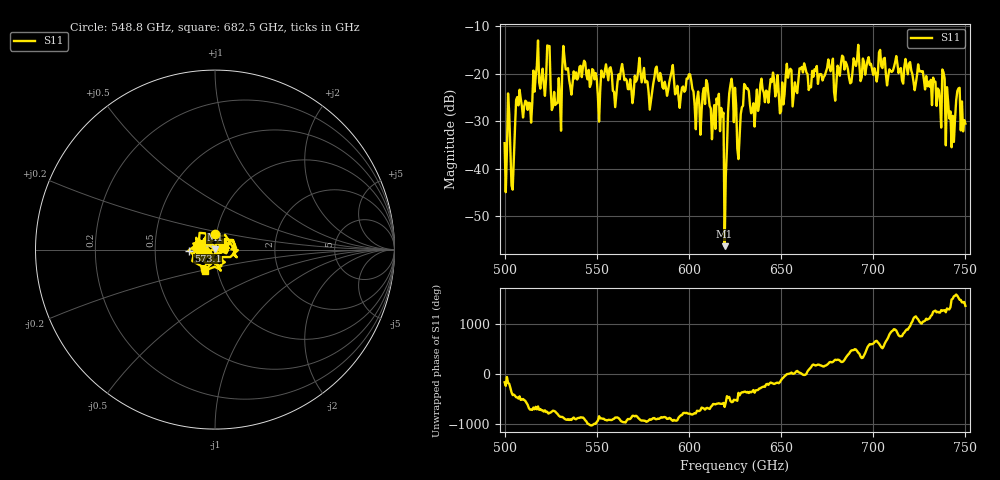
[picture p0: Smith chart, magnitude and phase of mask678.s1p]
!Created with skrf (http://scikit-rf.org).
# GHz S MA R 50.0
!freq magS11 angS11
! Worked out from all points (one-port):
!   401 points, 500 GHz to 750 GHz, reference 50 ohm
!   lowest |S11| = -56.3 dB at 619.4 GHz (marker M1), VSWR 1.00, Z = 50.1 + j0.139 ohm
!   |S11| at or under -10 dB: start of sweep to end of sweep
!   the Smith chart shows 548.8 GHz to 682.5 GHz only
!   S11 on the Smith chart (normalised r, x): 548.8 GHz: 0.98, +0.17; 573.1 GHz: 0.74, -0.01; 682.5 GHz: 0.87, -0.21
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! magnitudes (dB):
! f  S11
! 500 GHz  -34.6
! 504.4 GHz  -44.4
! 507.5 GHz  -26.6
! 513.8 GHz  -26.2
! 516.9 GHz  -20.5
! 523.8 GHz  -14.1
! 526.9 GHz  -23.8
! 531.2 GHz  -19.0
! 548.8 GHz  -21.2
! 562.5 GHz  -21.1
! 573.1 GHz  -16.6
! 593.8 GHz  -22.5
! 600 GHz  -20.1
! 605 GHz  -23.7
! 608.8 GHz  -26.4
! 616.2 GHz  -24.2
! 619.4 GHz  -56.3
! 620.6 GHz  -35.8
! 622.5 GHz  -22.4
! 625 GHz  -22.9
! 627.5 GHz  -33.1
! 631.2 GHz  -23.1
! 635 GHz  -26.2
! 656.2 GHz  -26.9
! 682.5 GHz  -17.8
! 687.5 GHz  -22.0
! 718.8 GHz  -20.1
! 750 GHz  -30.5
